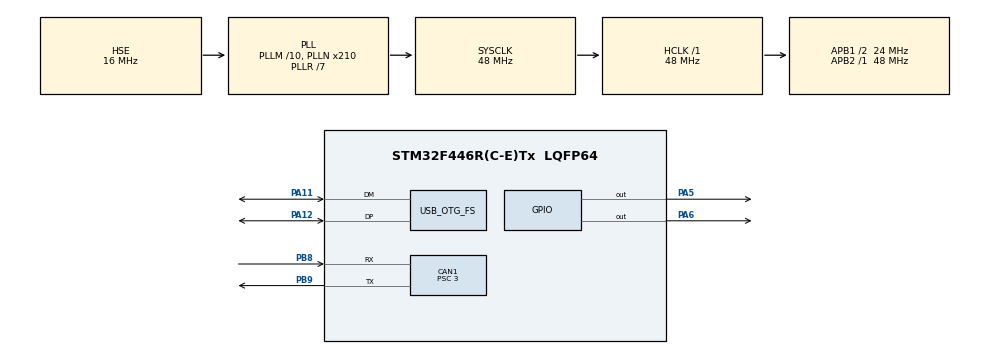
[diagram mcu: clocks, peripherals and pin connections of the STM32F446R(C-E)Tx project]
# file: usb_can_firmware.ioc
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CAN1.BS1=CAN_BS1_6TQ
CAN1.CalculateBaudRate=1000000
CAN1.CalculateTimeBit=1000
CAN1.CalculateTimeQuantum=125.0
CAN1.Prescaler=3
Mcu.Family=STM32F4
Mcu.Name=STM32F446R(C-E)Tx
Mcu.Package=LQFP64
NVIC.CAN1_RX0_IRQn=true\:0\:0\:false\:false\:true\:true\:true\:true
NVIC.OTG_FS_IRQn=true\:0\:0\:false\:false\:true\:true\:true\:true
NVIC.PriorityGroup=NVIC_PRIORITYGROUP_4
PA11.Mode=Device_Only
PA11.Signal=USB_OTG_FS_DM
PA12.Mode=Device_Only
PA12.Signal=USB_OTG_FS_DP
PA13.Mode=Serial_Wire
PA13.Signal=SYS_JTMS-SWDIO
PA14.Mode=Serial_Wire
PA14.Signal=SYS_JTCK-SWCLK
PA5.Signal=GPIO_Output
PA6.Signal=GPIO_Output
PB8.Mode=CAN_Activate
PB8.Signal=CAN1_RX
PB9.Mode=CAN_Activate
PB9.Signal=CAN1_TX
PH0-OSC_IN.Mode=HSE-External-Oscillator
PH0-OSC_IN.Signal=RCC_OSC_IN
PH1-OSC_OUT.Mode=HSE-External-Oscillator
PH1-OSC_OUT.Signal=RCC_OSC_OUT
ProjectManager.HeapSize=0x200
ProjectManager.StackSize=0x400
ProjectManager.TargetToolchain=CMake
RCC.AHBFreq_Value=48000000
RCC.APB1CLKDivider=RCC_HCLK_DIV2
RCC.APB1Freq_Value=24000000
RCC.APB1TimFreq_Value=48000000
RCC.APB2Freq_Value=48000000
RCC.APB2TimFreq_Value=48000000
RCC.CortexFreq_Value=48000000
RCC.HCLKFreq_Value=48000000
RCC.HSE_VALUE=16000000
RCC.PLLM=10
RCC.PLLN=210
RCC.PLLQ=7
RCC.PLLR=7
RCC.SYSCLKFreq_VALUE=48000000
RCC.SYSCLKSource=RCC_SYSCLKSOURCE_PLLRCLK
RCC.USBFreq_Value=48000000
RCC.VCOOutputFreq_Value=336000000
USB_DEVICE.CLASS_NAME_FS=CDC
USB_DEVICE.LANGID_STRING-CDC_FS=1033
USB_DEVICE.VirtualMode-CDC_FS=Cdc
USB_DEVICE.VirtualModeFS=Cdc_FS
USB_OTG_FS.VirtualMode=Device_Only
VP_USB_DEVICE_VS_USB_DEVICE_CDC_FS.Mode=CDC_FS
board=custom

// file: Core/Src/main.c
/* USER CODE BEGIN Header */
/**
  ******************************************************************************
  * @file           : main.c
  * @brief          : Main program body
  ******************************************************************************
  * @attention
  *
  * Copyright (c) 2022 STMicroelectronics.
  * All rights reserved.
  *
  * This software is licensed under terms that can be found in the LICENSE file
  * in the root directory of this software component.
  * If no LICENSE file comes with this software, it is provided AS-IS.
  *
  ******************************************************************************
  */
/* USER CODE END Header */
#include "main.h"
#include "usb_device.h"

/* USER CODE BEGIN Includes */
#include <stdbool.h>
#include "usbd_cdc_if.h"
/* USER CODE END Includes */

CAN_HandleTypeDef hcan1;

void SystemClock_Config(void);
static void MX_GPIO_Init(void);
static void MX_CAN1_Init(void);
/* USER CODE BEGIN PFP */
void HAL_CAN_RxFifo0MsgPendingCallback(CAN_HandleTypeDef *hcan_);
/* USER CODE END PFP */

/* USER CODE BEGIN 0 */
CanRingBuf can_buf;
UsbRingBuf usb_buf;
/* USER CODE END 0 */

int main(void)
{

  /* MCU Configuration--------------------------------------------------------*/

  /* Reset of all peripherals, Initializes the Flash interface and the Systick. */
  HAL_Init();

  /* Configure the system clock */
  SystemClock_Config();

  /* Initialize all configured peripherals */
  MX_GPIO_Init();
  MX_CAN1_Init();
  MX_USB_DEVICE_Init();
  /* USER CODE BEGIN 2 */
  HAL_CAN_Start(&hcan1);
  HAL_CAN_ActivateNotification(&hcan1, CAN_IT_RX_FIFO0_MSG_PENDING);
  /* USER CODE END 2 */

  /* Infinite loop */
  while (1)
  {

    /* USER CODE BEGIN 3 */
    if (can_buf.read_idx != can_buf.write_idx) {
      CanFrame *f = &can_buf.buf[can_buf.read_idx];
      if (CDC_Transmit_FS(f->data, CAN_RX_SIZE) != USBD_OK) {
        Error_Handler();
      }
      can_buf.read_idx = CAN_NEXT_IDX(can_buf.read_idx);
    }

    if (usb_buf.read_idx != usb_buf.write_idx) {
      if (HAL_CAN_GetTxMailboxesFreeLevel(&hcan1) > 0){
        uint8_t *f = usb_buf.buf[usb_buf.read_idx];
        CAN_TxHeaderTypeDef tx_header;
        uint32_t tx_mailbox;
        uint8_t length = f[2];
        uint8_t tx_datas[length];
        tx_header.StdId = (f[0] << 8) | f[1];
        tx_header.RTR = CAN_RTR_DATA;
        tx_header.IDE = CAN_ID_STD;
        tx_header.DLC = length;
        tx_header.TransmitGlobalTime = DISABLE;
        memcpy(tx_datas, f+3, length);

        HAL_StatusTypeDef status = HAL_CAN_AddTxMessage(&hcan1, &tx_header, tx_datas, &tx_mailbox);
        if (status != HAL_OK) {
          Error_Handler();
        }
        usb_buf.read_idx = USB_NEXT_IDX(usb_buf.read_idx);
        HAL_GPIO_TogglePin(GPIOA, GPIO_PIN_5);

          uint32_t esr = hcan1.Instance->ESR;

          uint32_t ESR = esr;
          uint32_t TEC = (esr >> 16) & 0xFF;
          uint32_t REC = (esr >> 24) & 0xFF;
          uint32_t LEC = (esr >> 4) & 0x07;
          uint32_t EWGF = esr & 0x01;
          uint32_t EPVF = (esr >> 1) & 0x01;
          uint32_t BOFF = (esr >> 2) & 0x01;
      }
    }
  }
  /* USER CODE END 3 */
}

void SystemClock_Config(void)
{
  RCC_OscInitTypeDef RCC_OscInitStruct = {0};
  RCC_ClkInitTypeDef RCC_ClkInitStruct = {0};

  /** Configure the main internal regulator output voltage
  */
  __HAL_RCC_PWR_CLK_ENABLE();
  __HAL_PWR_VOLTAGESCALING_CONFIG(PWR_REGULATOR_VOLTAGE_SCALE3);

  /** Initializes the RCC Oscillators according to the specified parameters
  * in the RCC_OscInitTypeDef structure.
  */
  RCC_OscInitStruct.OscillatorType = RCC_OSCILLATORTYPE_HSE;
  RCC_OscInitStruct.HSEState = RCC_HSE_ON;
  RCC_OscInitStruct.PLL.PLLState = RCC_PLL_ON;
  RCC_OscInitStruct.PLL.PLLSource = RCC_PLLSOURCE_HSE;
  RCC_OscInitStruct.PLL.PLLM = 10;
  RCC_OscInitStruct.PLL.PLLN = 210;
  RCC_OscInitStruct.PLL.PLLP = RCC_PLLP_DIV2;
  RCC_OscInitStruct.PLL.PLLQ = 7;
  RCC_OscInitStruct.PLL.PLLR = 7;
  if (HAL_RCC_OscConfig(&RCC_OscInitStruct) != HAL_OK)
  {
    Error_Handler();
  }

  /** Initializes the CPU, AHB and APB buses clocks
  */
  RCC_ClkInitStruct.ClockType = RCC_CLOCKTYPE_HCLK|RCC_CLOCKTYPE_SYSCLK
                              |RCC_CLOCKTYPE_PCLK1|RCC_CLOCKTYPE_PCLK2;
  RCC_ClkInitStruct.SYSCLKSource = RCC_SYSCLKSOURCE_PLLRCLK;
  RCC_ClkInitStruct.AHBCLKDivider = RCC_SYSCLK_DIV1;
  RCC_ClkInitStruct.APB1CLKDivider = RCC_HCLK_DIV2;
  RCC_ClkInitStruct.APB2CLKDivider = RCC_HCLK_DIV1;

  if (HAL_RCC_ClockConfig(&RCC_ClkInitStruct, FLASH_LATENCY_1) != HAL_OK)
  {
    Error_Handler();
  }
}

static void MX_CAN1_Init(void)
{

  /* USER CODE BEGIN CAN1_Init 0 */
	CAN_FilterTypeDef filter;
	uint32_t filter_id = 0x60 << 21;
	uint32_t filter_mask = (0xff << 21) | 0x04;
  /* USER CODE END CAN1_Init 0 */

  hcan1.Instance = CAN1;
  hcan1.Init.Prescaler = 3;
  hcan1.Init.Mode = CAN_MODE_NORMAL;
  hcan1.Init.SyncJumpWidth = CAN_SJW_1TQ;
  hcan1.Init.TimeSeg1 = CAN_BS1_6TQ;
  hcan1.Init.TimeSeg2 = CAN_BS2_1TQ;
  hcan1.Init.TimeTriggeredMode = DISABLE;
  hcan1.Init.AutoBusOff = DISABLE;
  hcan1.Init.AutoWakeUp = DISABLE;
  hcan1.Init.AutoRetransmission = DISABLE;
  hcan1.Init.ReceiveFifoLocked = DISABLE;
  hcan1.Init.TransmitFifoPriority = DISABLE;
  if (HAL_CAN_Init(&hcan1) != HAL_OK)
  {
    Error_Handler();
  }
  /* USER CODE BEGIN CAN1_Init 2 */
  filter.FilterIdHigh         = (filter_id >> 16) & 0xffff;
  filter.FilterIdLow          = filter_id & 0xffff;
  filter.FilterMaskIdHigh     = (filter_mask >> 16) & 0xffff;
  filter.FilterMaskIdLow      = filter_mask & 0xffff;
  filter.FilterScale          = CAN_FILTERSCALE_32BIT;
  filter.FilterFIFOAssignment = CAN_FILTER_FIFO0;
  filter.FilterBank           = 0;
  filter.FilterMode           = CAN_FILTERMODE_IDLIST;
  filter.SlaveStartFilterBank = 14;
  filter.FilterActivation     = ENABLE;

  HAL_CAN_ConfigFilter(&hcan1, &filter);
  /* USER CODE END CAN1_Init 2 */

}

static void MX_GPIO_Init(void)
{
  GPIO_InitTypeDef GPIO_InitStruct = {0};

  /* GPIO Ports Clock Enable */
  __HAL_RCC_GPIOH_CLK_ENABLE();
  __HAL_RCC_GPIOA_CLK_ENABLE();
  __HAL_RCC_GPIOB_CLK_ENABLE();

  /*Configure GPIO pin Output Level */
  HAL_GPIO_WritePin(GPIOA, GPIO_PIN_5|GPIO_PIN_6, GPIO_PIN_RESET);

  /*Configure GPIO pins : PA5 PA6 */
  GPIO_InitStruct.Pin = GPIO_PIN_5|GPIO_PIN_6;
  GPIO_InitStruct.Mode = GPIO_MODE_OUTPUT_PP;
  GPIO_InitStruct.Pull = GPIO_NOPULL;
  GPIO_InitStruct.Speed = GPIO_SPEED_FREQ_LOW;
  HAL_GPIO_Init(GPIOA, &GPIO_InitStruct);

}

/* USER CODE BEGIN 4 */
void HAL_CAN_RxFifo0MsgPendingCallback(CAN_HandleTypeDef *hcan_){
  CAN_RxHeaderTypeDef rx_header;
	uint8_t rx_data[CAN_RX_SIZE] = {0u};

	if (HAL_CAN_GetRxMessage(hcan_, CAN_RX_FIFO0, &rx_header, rx_data) != HAL_OK) {
    return;
  }
  // can_bufが満杯なら破棄
  if (CAN_NEXT_IDX(can_buf.write_idx) == can_buf.read_idx) {
    return;
  } else {
      if(rx_header.DLC == CAN_RX_SIZE) {
      can_buf.buf[can_buf.write_idx].header = rx_header;
      memcpy(can_buf.buf[can_buf.write_idx].data, rx_data, CAN_RX_SIZE);
      can_buf.write_idx = CAN_NEXT_IDX(can_buf.write_idx);
    }
	}
}
/* USER CODE END 4 */

void Error_Handler(void)
{
  /* USER CODE BEGIN Error_Handler_Debug */
  /* User can add his own implementation to report the HAL error return state */
  __disable_irq();
  HAL_GPIO_WritePin(GPIOA, GPIO_PIN_5, SET);
  while (1)
  {
  }
  /* USER CODE END Error_Handler_Debug */
}
